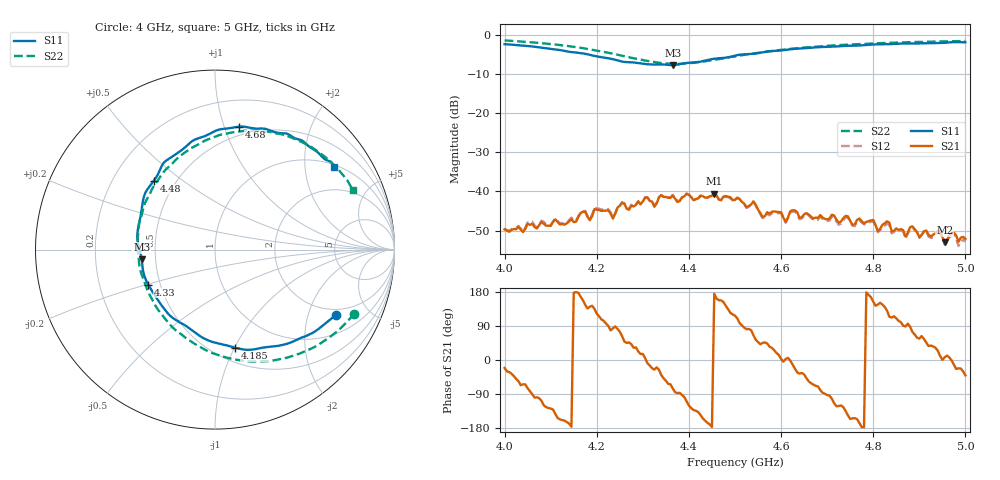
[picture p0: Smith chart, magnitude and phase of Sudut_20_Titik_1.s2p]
# Hz S RI R 50
! CMT, C1220, 16058040, 17.2.0/1
! Date: 15/08/2018 11:29:20
! Data: Format (Calibration Info)
! Freq  S11: Re/Im (F2)  S21: Re/Im (F2)  S12: Re/Im (F2)  S22: Re/Im (F2)
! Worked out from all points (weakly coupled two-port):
!   201 points, 4 GHz to 5 GHz, reference 50 ohm
!   highest |S21| = -40.52 dB at 4.455 GHz (marker M1); lowest = -53.0 dB at 4.955 GHz (marker M2)
!   lowest |S11| = -7.7 dB at 4.365 GHz (marker M3), VSWR 2.40, Z = 20.9 - j2.67 ohm
!   |S11| at or under -10 dB: nowhere
!   |S22| runs from -7.4 to -1.4 dB; largest |S21 - S12| = 0.00034
!   S11 on the Smith chart (normalised r, x): 4 GHz: 1.75, -3.04; 4.185 GHz: 0.63, -1.01; 4.33 GHz: 0.43, -0.20; 4.48 GHz: 0.38, +0.39; 4.68 GHz: 0.42, +1.13; 5 GHz: 1.08, +2.84
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4e9  0.6726 -0.3621  0.00306 -0.00118  0.00318 -0.00111  0.774 -0.3565
4.17e9  0.165 -0.5575  -0.00509 0.0021  -0.00524 0.002  0.2724 -0.6221
4.185e9  0.1127 -0.5468  -0.00332 0.00272  -0.00347 0.00274  0.2087 -0.6236
4.195e9  0.0724 -0.5354  -0.0042 0.00423  -0.00448 0.00433  0.1636 -0.6201
4.235e9  -0.0784 -0.4851  0.000517 0.00447  0.000566 0.00454  -0.0119 -0.5776
4.255e9  -0.1527 -0.4313  0.00326 0.00632  0.00337 0.00648  -0.0969 -0.5343
4.33e9  -0.3717 -0.1956  0.00664 -0.00234  0.00678 -0.00239  -0.354 -0.2714
4.335e9  -0.3812 -0.1781  0.00758 -0.00363  0.00766 -0.00376  -0.3662 -0.2483
4.365e9  -0.4086 -0.0531  0.00228 -0.00855  0.00221 -0.00881  -0.4187 -0.1041
4.455e9  -0.3924 0.3053  -0.00938 0.000866  -0.00929 0.00108  -0.3597 0.3173
4.48e9  -0.3407 0.3837  -0.00702 0.00522  -0.00676 0.00524  -0.3029 0.4095
4.5e9  -0.3025 0.4526  -0.00358 0.00699  -0.00347 0.00691  -0.2475 0.4714
4.54e9  -0.2127 0.5351  0.0031 0.0068  0.00321 0.00659  -0.1322 0.5659
4.56e9  -0.1544 0.581  0.00331 0.00333  0.00331 0.00315  -0.071 0.599
4.67e9  0.1152 0.6824  0.00194 -0.00409  0.0018 -0.00402  0.248 0.6623
4.68e9  0.135 0.6855  0.0016 -0.0043  0.0015 -0.00408  0.2728 0.659
4.835e9  0.4459 0.6201  -0.00162 0.00364  -0.00161 0.00332  0.5838 0.538
4.87e9  0.4967 0.5987  6.9e-05 0.00265  2.9e-05 0.0025  0.6345 0.499
4.885e9  0.5183 0.5787  0.000982 0.00344  0.000887 0.00333  0.6528 0.4807
4.94e9  0.5963 0.5172  0.00287 0.00132  0.0027 0.00126  0.715 0.413
4.955e9  0.6212 0.4986  0.00221 0.000274  0.00208 0.000217  0.7299 0.3928
5e9  0.6637 0.459  0.00188 -0.00161  0.0018 -0.00139  0.7692 0.3342
